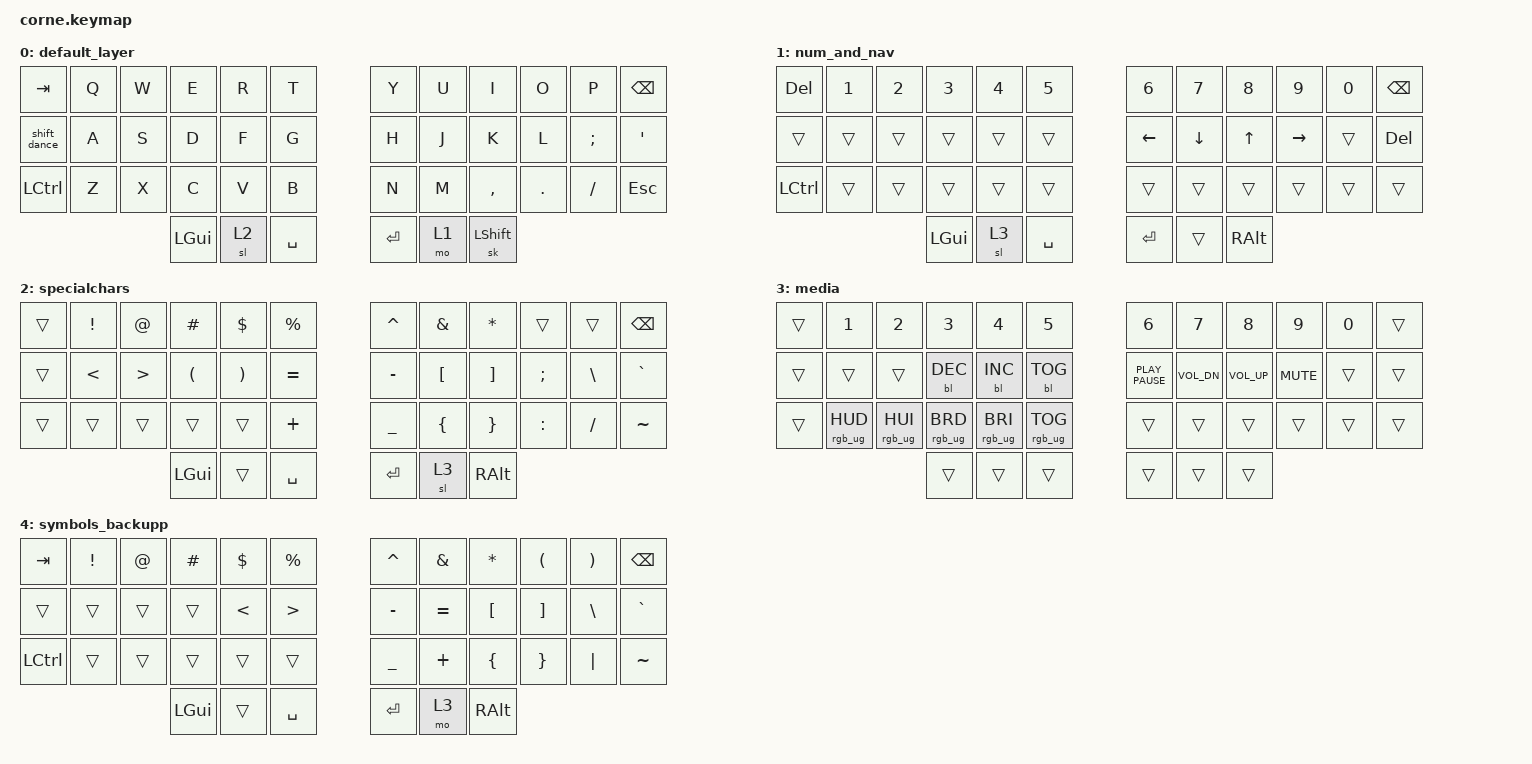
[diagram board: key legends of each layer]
/*
 * Copyright (c) 2020 The ZMK Contributors
 *
 * SPDX-License-Identifier: MIT
 */

#include <behaviors.dtsi>
#include <dt-bindings/zmk/backlight.h>
#include <dt-bindings/zmk/keys.h>
#include <dt-bindings/zmk/rgb.h>

/ {
    combos {
        compatible = "zmk,combos";

        escape {
            bindings = <&kp ESC>;
            key-positions = <4 16>;
        };
    };

    behaviors {
        shift_dance: shift_dance {
            compatible = "zmk,behavior-tap-dance";
            label = "SHIFT_DANCE";
            #binding-cells = <0>;
            bindings = <&kp LEFT_SHIFT>, <&kp CAPSLOCK>;
        };
    };

    keymap {
        compatible = "zmk,keymap";

        default_layer {
            // -----------------------------------------------------------------------------------------
            // |  TAB |  Q  |  W  |  E  |  R  |  T  |   |  Y  |  U   |  I  |  O  |  P  | BSPC |
            // | CTRL |  A  |  S  |  D  |  F  |  G  |   |  H  |  J   |  K  |  L  |  ;  |  '   |
            // | SHFT |  Z  |  X  |  C  |  V  |  B  |   |  N  |  M   |  ,  |  .  |  /  | ESC  |
            //                    | GUI | LWR | SPC |   | ENT | RSE  | ALT |

            bindings = <
&kp TAB       &kp Q  &kp W  &kp E     &kp R  &kp T        &kp Y    &kp U  &kp I           &kp O    &kp P     &kp BACKSPACE
&shift_dance  &kp A  &kp S  &kp D     &kp F  &kp G        &kp H    &kp J  &kp K           &kp L    &kp SEMI  &kp SQT
&kp LCTRL     &kp Z  &kp X  &kp C     &kp V  &kp B        &kp N    &kp M  &kp COMMA       &kp DOT  &kp FSLH  &kp ESC
                            &kp LGUI  &sl 2  &kp SPACE    &kp RET  &mo 1  &sk LEFT_SHIFT
            >;
        };

        num_and_nav {
            // -----------------------------------------------------------------------------------------
            // |  TAB |  1  |  2  |  3  |  4  |  5  |   |  6  |  7  |  8  |  9  |  0  | BSPC |
            // | BTCLR| BT1 | BT2 | BT3 | BT4 | BT5 |   | LFT | DWN |  UP | RGT |     |      |
            // | SHFT |     |     |     |     |     |   |     |     |     |     |     |      |
            //                    | GUI |     | SPC |   | ENT |     | ALT |

            bindings = <
&kp DELETE  &kp N1  &kp N2  &kp N3    &kp N4  &kp N5       &kp N6          &kp N7    &kp N8        &kp N9     &kp N0  &kp BSPC
&trans      &trans  &trans  &trans    &trans  &trans       &kp LEFT_ARROW  &kp DOWN  &kp UP_ARROW  &kp RIGHT  &trans  &kp DEL
&kp LCTRL   &trans  &trans  &trans    &trans  &trans       &trans          &trans    &trans        &trans     &trans  &trans
                            &kp LGUI  &sl 3   &kp SPACE    &kp RET         &trans    &kp RALT
            >;
        };

        specialchars {
            // -----------------------------------------------------------------------------------------
            // |  TAB |  !  |  @  |  #  |  $  |  %  |   |  ^  |  &  |  *  |  (  |  )  | BSPC |
            // | CTRL |     |     |     |     |     |   |  -  |  =  |  [  |  ]  |  \  |  `   |
            // | SHFT |     |     |     |     |     |   |  _  |  +  |  {  |  }  | "|" |  ~   |
            //                    | GUI |     | SPC |   | ENT |     | ALT |

            bindings = <
&trans  &kp EXCL       &kp AT            &kp HASH              &kp DLLR               &kp PRCNT    &kp CARET  &kp AMPS          &kp ASTRK          &trans         &trans     &kp BSPC
&trans  &kp LESS_THAN  &kp GREATER_THAN  &kp LEFT_PARENTHESIS  &kp RIGHT_PARENTHESIS  &kp EQUAL    &kp MINUS  &kp LEFT_BRACKET  &kp RIGHT_BRACKET  &kp SEMICOLON  &kp BSLH   &kp GRAVE
&trans  &trans         &trans            &trans                &trans                 &kp PLUS     &kp UNDER  &kp LEFT_BRACE    &kp RIGHT_BRACE    &kp COLON      &kp SLASH  &kp TILDE
                                         &kp LGUI              &trans                 &kp SPACE    &kp RET    &sl 3             &kp RALT
            >;
        };

        media {
            bindings = <
&trans  &kp NUMBER_1     &kp NUMBER_2     &kp NUMBER_3     &kp NUMBER_4     &kp N5             &kp NUMBER_6      &kp N7        &kp N8           &kp N9      &kp N0  &trans
&trans  &trans           &trans           &bl BL_DEC       &bl BL_INC       &bl BL_TOG         &kp K_PLAY_PAUSE  &kp C_VOL_DN  &kp C_VOLUME_UP  &kp K_MUTE  &trans  &trans
&trans  &rgb_ug RGB_HUD  &rgb_ug RGB_HUI  &rgb_ug RGB_BRD  &rgb_ug RGB_BRI  &rgb_ug RGB_TOG    &trans            &trans        &trans           &trans      &trans  &trans
                                          &trans           &trans           &trans             &trans            &trans        &trans
            >;
        };

        symbols_backupp {
            bindings = <
&kp TAB    &kp EXCL  &kp AT  &kp HASH  &kp DLLR       &kp PRCNT           &kp CARET  &kp AMPS   &kp ASTRK  &kp LPAR  &kp RPAR  &kp BSPC
&trans     &trans    &trans  &trans    &kp LESS_THAN  &kp GREATER_THAN    &kp MINUS  &kp EQUAL  &kp LBKT   &kp RBKT  &kp BSLH  &kp GRAVE
&kp LCTRL  &trans    &trans  &trans    &trans         &trans              &kp UNDER  &kp PLUS   &kp LBRC   &kp RBRC  &kp PIPE  &kp TILDE
                             &kp LGUI  &trans         &kp SPACE           &kp RET    &mo 3      &kp RALT
            >;
        };
    };
};

//adjust the length of per side led strip

&led_strip {
    // 21 + 6

    chain-length = <27>;
};
